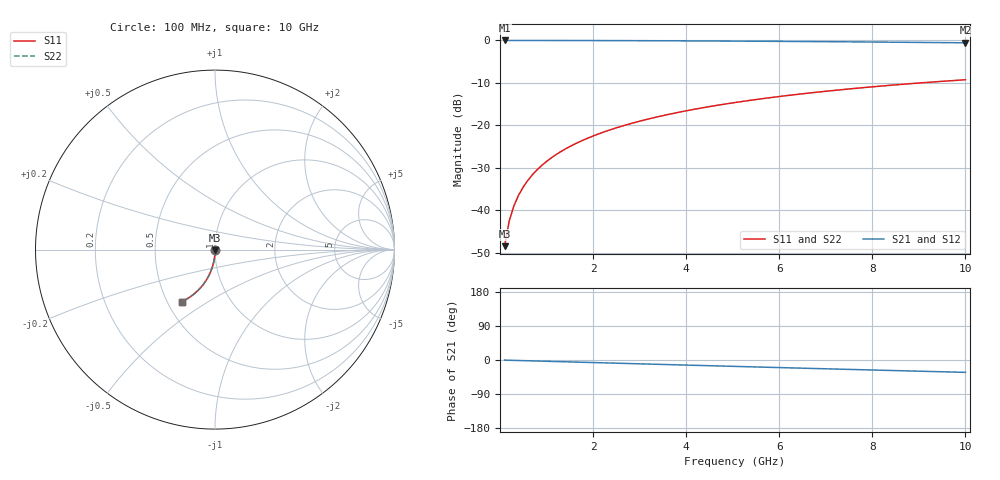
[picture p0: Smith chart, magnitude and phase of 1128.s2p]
# Hz S RI R 50.00
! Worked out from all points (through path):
!   100 points, 100 MHz to 10 GHz, reference 50 ohm
!   highest |S21| = 0.00 dB at 100 MHz (marker M1); lowest = -0.6 dB at 10 GHz (marker M2)
!   group delay of S21, straight-line fit = 9.08 ps
!   lowest |S11| = -48.5 dB at 100 MHz (marker M3), VSWR 1.01, Z = 50 - j0.375 ohm
!   |S11| at or under -10 dB: start of sweep to 9.045 GHz
!   |S22| runs from -48.5 to -9.3 dB; largest |S21 - S12| = 0
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1e8  0.000332 -0.00375  0.9996 -0.00587  0.9996 -0.00587  0.000332 -0.00375
2e8  0.000263 -0.0075  0.9995 -0.0117  0.9995 -0.0117  0.000263 -0.0075
3e8  0.000151 -0.0113  0.9994 -0.0176  0.9994 -0.0176  0.000151 -0.0113
4e8  -6.56e-06 -0.015  0.9992 -0.0235  0.9992 -0.0235  -6.56e-06 -0.015
5e8  -0.000208 -0.0187  0.999 -0.0293  0.999 -0.0293  -0.000208 -0.0187
6e8  -0.000453 -0.0225  0.9987 -0.0352  0.9987 -0.0352  -0.000453 -0.0225
7e8  -0.000743 -0.0262  0.9984 -0.041  0.9984 -0.041  -0.000743 -0.0262
8e8  -0.00108 -0.03  0.998 -0.0469  0.998 -0.0469  -0.00108 -0.03
9e8  -0.00145 -0.0337  0.9976 -0.0527  0.9976 -0.0527  -0.00145 -0.0337
1.1e9  -0.00234 -0.0411  0.9966 -0.0644  0.9966 -0.0644  -0.00234 -0.0411
1.4e9  -0.00399 -0.0523  0.9948 -0.0819  0.9948 -0.0819  -0.00399 -0.0523
1.8e9  -0.00681 -0.067  0.9917 -0.1051  0.9917 -0.1051  -0.00681 -0.067
2.1e9  -0.00936 -0.0779  0.9889 -0.1224  0.9889 -0.1224  -0.00936 -0.0779
2.5e9  -0.0134 -0.0924  0.9845 -0.1453  0.9845 -0.1453  -0.0134 -0.0924
2.9e9  -0.018 -0.1066  0.9793 -0.168  0.9793 -0.168  -0.018 -0.1066
3.4e9  -0.0248 -0.1239  0.9719 -0.196  0.9719 -0.196  -0.0248 -0.1239
4.2e9  -0.0375 -0.1507  0.9577 -0.2399  0.9577 -0.2399  -0.0375 -0.1507
5.1e9  -0.0547 -0.1791  0.9386 -0.2875  0.9386 -0.2875  -0.0547 -0.1791
5.9e9  -0.0722 -0.2025  0.9191 -0.3282  0.9191 -0.3282  -0.0722 -0.2025
6.7e9  -0.0915 -0.224  0.8974 -0.367  0.8974 -0.367  -0.0915 -0.224
8.4e9  -0.1376 -0.2627  0.8453 -0.4427  0.8453 -0.4427  -0.1376 -0.2627
1e10  -0.1854 -0.29  0.7903 -0.5052  0.7903 -0.5052  -0.1854 -0.29
